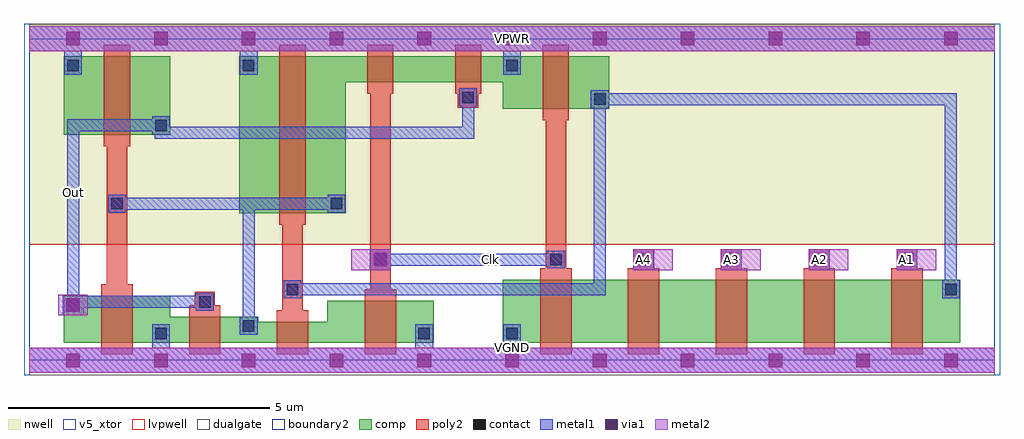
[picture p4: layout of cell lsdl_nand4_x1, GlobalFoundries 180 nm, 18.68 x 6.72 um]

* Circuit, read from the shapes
.subckt lsdl_nand4_x1 A1 A2 A3 A4 Clk Out VGND VPWR
XM1 VGND n1 Out VSUBS nfet_05v0 w=0.9u l=0.6u
XM2 n1 Out VGND VSUBS nfet_05v0 w=0.5u l=0.6u
XM3 n2 n3 n1 VSUBS nfet_05v0 w=0.4u l=0.6u
XM4 VGND Clk n2 VSUBS nfet_05v0 w=0.8u l=0.6u
XM5 n4 Clk VGND VSUBS nfet_05v0 w=1.2u l=0.6u
XM6 n5 A4 n4 VSUBS nfet_05v0 w=1.2u l=0.6u
XM7 n6 A3 n5 VSUBS nfet_05v0 w=1.2u l=0.6u
XM8 n7 A2 n6 VSUBS nfet_05v0 w=1.2u l=0.6u
XM9 n3 A1 n7 VSUBS nfet_05v0 w=1.2u l=0.6u
XM10 Out n1 VPWR n8 pfet_05v0 w=1.5u l=0.5u
XM11 n1 n3 VPWR n8 pfet_05v0 w=3u l=0.5u
XM12 n9 Clk n1 n8 pfet_05v0 w=0.5u l=0.5u
XM13 VPWR Out n9 n8 pfet_05v0 w=0.5u l=0.5u
XM14 n3 Clk VPWR n8 pfet_05v0 w=1u l=0.5u
.ends

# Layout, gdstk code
import gdstk
lib = gdstk.Library(unit=1e-6, precision=1e-09)
def R(c, l, rs):  # rectangles x0, y0, x1, y1
    for r in rs: c.add(gdstk.rectangle(r[:2], r[2:], *l))
def A(c, l, x, y, w, h, nx, ny, dx, dy):  # array of equal rectangles
    R(c, l, [(x+i*dx, y+j*dy, x+i*dx+w, y+j*dy+h) for i in range(nx) for j in range(ny)])
def P(c, l, *ps):  # polygons
    for p in ps: c.add(gdstk.Polygon(p, *l))
nwell = (21, 0)
comp = (22, 0)
poly2 = (30, 0)
contact = (33, 0)
metal1 = (34, 0)
via1 = (35, 0)
metal2 = (36, 0)
dualgate = (55, 0)
boundary2 = (63, 0)
v5_xtor = (112, 1)
lvpwell = (204, 0)

lsdl_nand4_x1 = lib.new_cell('lsdl_nand4_x1')
R(lsdl_nand4_x1, nwell, [(0,2.22,18.48,6.42)])
R(lsdl_nand4_x1, comp, [(9.06,0.34,17.82,1.54), (0.66,4.32,2.7,5.82)])
P(lsdl_nand4_x1, comp, [(0.66,0.34),(0.66,1.24),(2.7,1.24),(2.7,0.84),(4.38,0.84),(4.38,0.74),(5.7,0.74),(5.7,1.14),(7.74,1.14),(7.74,0.34)],
  [(4.02,2.82),(4.02,5.82),(11.1,5.82),(11.1,4.82),(9.06,4.82),(9.06,5.32),(6.06,5.32),(6.06,2.82)])
P(lsdl_nand4_x1, poly2, [(3.06,0.12),(3.06,1.06),(3.165,1.06),(3.165,1.315),(3.555,1.315),(3.555,1.06),(3.66,1.06),(3.66,0.12)],
  [(11.46,0.12),(11.46,1.76),(11.565,1.76),(11.565,2.125),(11.955,2.125),(11.955,1.76),(12.06,1.76),(12.06,0.12)],
  [(13.14,0.12),(13.14,1.76),(13.245,1.76),(13.245,2.125),(13.635,2.125),(13.635,1.76),(13.74,1.76),(13.74,0.12)],
  [(14.82,0.12),(14.82,1.76),(14.925,1.76),(14.925,2.125),(15.315,2.125),(15.315,1.76),(15.42,1.76),(15.42,0.12)],
  [(16.5,0.12),(16.5,1.76),(16.605,1.76),(16.605,2.125),(16.995,2.125),(16.995,1.76),(17.1,1.76),(17.1,0.12)],
  [(1.38,0.12),(1.38,1.46),(1.485,1.46),(1.485,4.1),(1.43,4.1),(1.43,6.04),(1.93,6.04),(1.93,4.1),(1.875,4.1),(1.875,1.46),(1.98,1.46),(1.98,0.12)],
  [(4.74,0.12),(4.74,0.96),(4.845,0.96),(4.845,2.6),(4.79,2.6),(4.79,6.04),(5.29,6.04),(5.29,2.6),(5.235,2.6),(5.235,0.96),(5.34,0.96),(5.34,0.12)],
  [(6.42,0.12),(6.42,1.36),(6.525,1.36),(6.525,5.1),(6.47,5.1),(6.47,6.04),(6.97,6.04),(6.97,5.1),(6.915,5.1),(6.915,1.36),(7.02,1.36),(7.02,0.12)],
  [(8.205,4.84),(8.205,5.1),(8.15,5.1),(8.15,6.04),(8.65,6.04),(8.65,5.1),(8.595,5.1),(8.595,4.84)],
  [(9.78,0.12),(9.78,1.76),(9.885,1.76),(9.885,4.6),(9.83,4.6),(9.83,6.04),(10.33,6.04),(10.33,4.6),(10.275,4.6),(10.275,1.76),(10.38,1.76),(10.38,0.12)])
A(lsdl_nand4_x1, contact, 9.97, 1.82, 0.22, 0.22, 5, 1, 1.68, 0)
R(lsdl_nand4_x1, contact, [(2.41,0.41,2.63,0.63), (7.45,0.41,7.67,0.63), (9.13,0.41,9.35,0.63), (4.09,0.55,4.31,0.77), (0.73,0.95,0.95,1.17), (3.25,1.01,3.47,1.23), (4.93,1.25,5.15,1.47), (17.53,1.25,17.75,1.47), (6.61,1.82,6.83,2.04), (1.57,2.89,1.79,3.11), (5.77,2.89,5.99,3.11), (2.41,4.39,2.63,4.61), (10.81,4.89,11.03,5.11), (8.29,4.925,8.51,5.145), (0.73,5.53,0.95,5.75), (4.09,5.53,4.31,5.75), (9.13,5.53,9.35,5.75)])
A(lsdl_nand4_x1, metal1, 11.56, 1.73, 0.4, 0.4, 4, 1, 1.68, 0)
P(lsdl_nand4_x1, metal1, [(0,-0.24),(0,0.24),(2.35,0.24),(2.35,0.69),(2.69,0.69),(2.69,0.24),(7.39,0.24),(7.39,0.69),(7.73,0.69),(7.73,0.24),(9.07,0.24),(9.07,0.69),(9.41,0.69),(9.41,0.24),(18.48,0.24),(18.48,-0.24)],
  [(6.52,1.73),(6.52,2.13),(6.92,2.13),(6.92,2.045),(9.91,2.045),(9.91,2.1),(10.25,2.1),(10.25,1.76),(9.91,1.76),(9.91,1.815),(6.92,1.815),(6.92,1.73)],
  [(4.03,0.49),(4.03,0.83),(4.085,0.83),(4.085,2.885),(1.85,2.885),(1.85,2.83),(1.51,2.83),(1.51,3.17),(1.85,3.17),(1.85,3.115),(5.71,3.115),(5.71,3.17),(6.05,3.17),(6.05,2.83),(5.71,2.83),(5.71,2.885),(4.315,2.885),(4.315,0.83),(4.37,0.83),(4.37,0.49)],
  [(4.87,1.19),(4.87,1.53),(5.21,1.53),(5.21,1.475),(10.805,1.475),(10.805,4.83),(10.75,4.83),(10.75,5.17),(11.09,5.17),(11.09,5.115),(17.755,5.115),(17.755,1.53),(17.81,1.53),(17.81,1.19),(17.47,1.19),(17.47,1.53),(17.525,1.53),(17.525,4.885),(11.09,4.885),(11.09,4.83),(11.035,4.83),(11.035,1.245),(5.21,1.245),(5.21,1.19)],
  [(0.64,0.86),(0.64,1.26),(0.725,1.26),(0.725,4.615),(2.35,4.615),(2.35,4.67),(2.69,4.67),(2.69,4.475),(8.285,4.475),(8.285,4.865),(8.23,4.865),(8.23,5.205),(8.57,5.205),(8.57,4.865),(8.515,4.865),(8.515,4.245),(2.405,4.245),(2.405,4.33),(2.35,4.33),(2.35,4.385),(0.955,4.385),(0.955,1.26),(1.04,1.26),(1.04,1.235),(3.19,1.235),(3.19,1.29),(3.53,1.29),(3.53,0.95),(3.19,0.95),(3.19,1.005),(1.04,1.005),(1.04,0.86)],
  [(0.67,5.47),(0.67,5.92),(0,5.92),(0,6.4),(18.48,6.4),(18.48,5.92),(9.41,5.92),(9.41,5.47),(9.07,5.47),(9.07,5.92),(4.37,5.92),(4.37,5.47),(4.03,5.47),(4.03,5.92),(1.01,5.92),(1.01,5.47)])
A(lsdl_nand4_x1, via1, 0.71, -0.13, 0.26, 0.26, 11, 2, 1.68, 6.16)
A(lsdl_nand4_x1, via1, 11.63, 1.8, 0.26, 0.26, 4, 1, 1.68, 0)
R(lsdl_nand4_x1, via1, [(0.71,0.93,0.97,1.19), (6.59,1.8,6.85,2.06)])
A(lsdl_nand4_x1, metal2, 11.56, 1.73, 0.76, 0.4, 4, 1, 1.68, 0)
R(lsdl_nand4_x1, metal2, [(0,-0.24,18.48,0.24), (0.56,0.86,1.12,1.26), (6.16,1.73,6.92,2.13), (0,5.92,18.48,6.4)])
R(lsdl_nand4_x1, dualgate, [(0,-0.28,18.48,6.44)])
R(lsdl_nand4_x1, boundary2, [(0,0,18.48,6.16)])
R(lsdl_nand4_x1, v5_xtor, [(-0.1,-0.28,18.58,6.44)])
R(lsdl_nand4_x1, lvpwell, [(0,0,18.48,2.22)])
lsdl_nand4_x1.add(gdstk.Label('A1', (16.8,1.932), layer=34, texttype=0))
lsdl_nand4_x1.add(gdstk.Label('A2', (15.12,1.932), layer=34, texttype=0))
lsdl_nand4_x1.add(gdstk.Label('A3', (13.44,1.932), layer=34, texttype=0))
lsdl_nand4_x1.add(gdstk.Label('A4', (11.76,1.932), layer=34, texttype=0))
lsdl_nand4_x1.add(gdstk.Label('Clk', (8.82,1.932), layer=34, texttype=0))
lsdl_nand4_x1.add(gdstk.Label('Out', (0.84,3.214), layer=34, texttype=0))
lsdl_nand4_x1.add(gdstk.Label('VPWR', (9.24,6.16), layer=34, texttype=0))
lsdl_nand4_x1.add(gdstk.Label('VGND', (9.24,0.244), layer=34, texttype=0))

lib.write_gds('lsdl_nand4_x1.gds')
